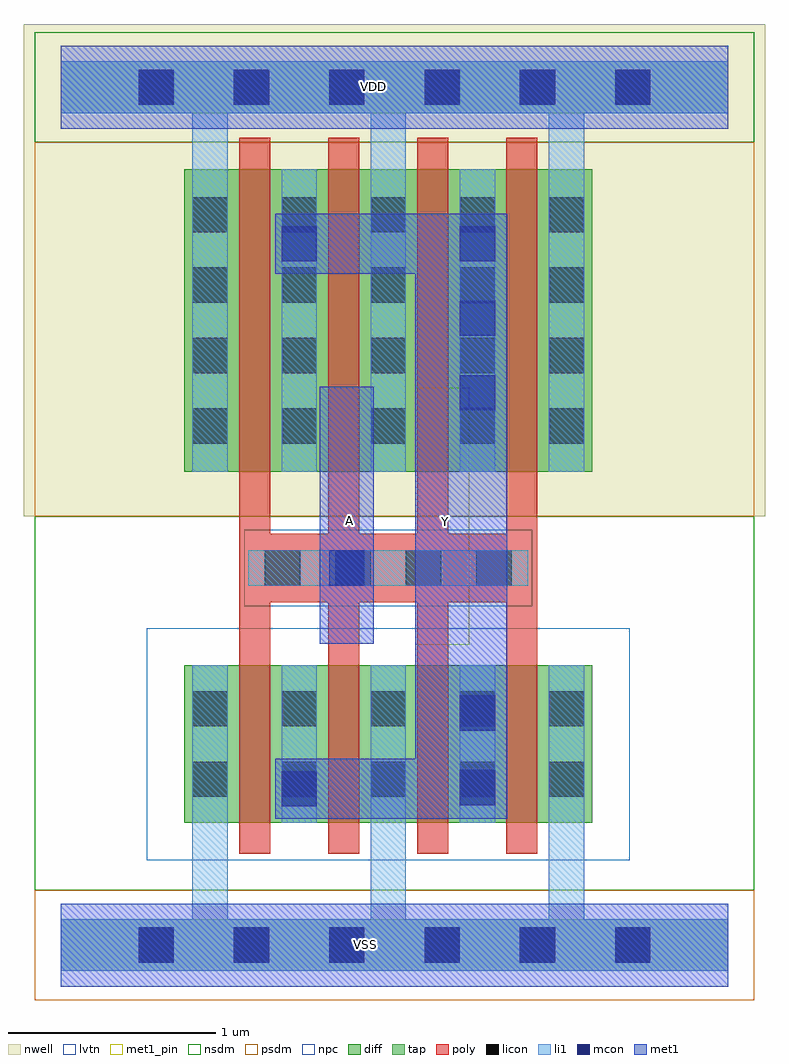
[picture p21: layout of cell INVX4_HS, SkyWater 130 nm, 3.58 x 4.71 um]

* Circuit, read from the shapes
.subckt INVX4_HS A VDD VSS Y
XM1 Y A VSS VSS sky130_fd_pr__nfet_01v8_lvt w=0.76 l=0.15 m=4
XM2 Y A VDD VDD sky130_fd_pr__pfet_01v8 w=1.46 l=0.15 m=4
.ends

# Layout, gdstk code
import gdstk
lib = gdstk.Library(unit=1e-6, precision=1e-09)
def R(c, l, rs):  # rectangles x0, y0, x1, y1
    for r in rs: c.add(gdstk.rectangle(r[:2], r[2:], *l))
def A(c, l, x, y, w, h, nx, ny, dx, dy):  # array of equal rectangles
    R(c, l, [(x+i*dx, y+j*dy, x+i*dx+w, y+j*dy+h) for i in range(nx) for j in range(ny)])
def P(c, l, *ps):  # polygons
    for p in ps: c.add(gdstk.Polygon(p, *l))
nwell = (64, 20)
diff = (65, 20)
tap = (65, 44)
poly = (66, 20)
licon = (66, 44)
li1 = (67, 20)
mcon = (67, 44)
met1_pin = (68, 16)
met1 = (68, 20)
nsdm = (93, 44)
psdm = (94, 20)
npc = (95, 20)
lvtn = (125, 44)

l1m1_c_cdns_752016586811 = lib.new_cell('L1M1_C_CDNS_752016586811')
R(l1m1_c_cdns_752016586811, li1, [(-0.165,-0.085,0.165,0.085)])
R(l1m1_c_cdns_752016586811, mcon, [(-0.085,-0.085,0.085,0.085)])
R(l1m1_c_cdns_752016586811, met1, [(-0.115,-0.145,0.115,0.145)])

l1m1_c_cdns_752016586817 = lib.new_cell('L1M1_C_CDNS_752016586817')
R(l1m1_c_cdns_752016586817, li1, [(-0.085,-0.525,0.085,0.525)])
A(l1m1_c_cdns_752016586817, mcon, -0.085, -0.445, 0.17, 0.17, 1, 3, 0, 0.36)
R(l1m1_c_cdns_752016586817, met1, [(-0.115,-0.505,0.115,0.505)])

pyl1con_c_cdns_752016586 = lib.new_cell('PYL1CON_C_CDNS_752016586813')
R(pyl1con_c_cdns_752016586, poly, [(-0.135,-0.165,0.135,0.165)])
R(pyl1con_c_cdns_752016586, licon, [(-0.085,-0.085,0.085,0.085)])
R(pyl1con_c_cdns_752016586, npc, [(-0.185,-0.185,0.185,0.185)])

l1m1_c_cdns_752016586812 = lib.new_cell('L1M1_C_CDNS_752016586812')
R(l1m1_c_cdns_752016586812, li1, [(-0.085,-0.165,0.085,0.165)])
R(l1m1_c_cdns_752016586812, mcon, [(-0.085,-0.085,0.085,0.085)])
R(l1m1_c_cdns_752016586812, met1, [(-0.115,-0.145,0.115,0.145)])

l1m1_c_cdns_752016586816 = lib.new_cell('L1M1_C_CDNS_752016586816')
R(l1m1_c_cdns_752016586816, li1, [(-0.085,-0.345,0.085,0.345)])
R(l1m1_c_cdns_752016586816, mcon, [(-0.085,-0.265,0.085,-0.095), (-0.085,0.095,0.085,0.265)])
R(l1m1_c_cdns_752016586816, met1, [(-0.115,-0.325,0.115,0.325)])

invx4_hs = lib.new_cell('INVX4_HS')
R(invx4_hs, nwell, [(-0.18,2.07,3.4,4.445)])
R(invx4_hs, diff, [(0.595,0.59,2.565,1.35), (0.595,2.285,2.565,3.745)])
P(invx4_hs, poly, [(2.3,3.895),(2.15,3.895),(2.15,1.985),(1.87,1.985),(1.87,3.895),(1.72,3.895),(1.72,1.985),(1.44,1.985),(1.44,3.895),(1.29,3.895),(1.29,1.985),(1.01,1.985),(1.01,3.895),(0.86,3.895),(0.86,0.44),(1.01,0.44),(1.01,1.655),(1.29,1.655),(1.29,0.44),(1.44,0.44),(1.44,1.655),(1.72,1.655),(1.72,0.44),(1.87,0.44),(1.87,1.655),(2.15,1.655),(2.15,0.44),(2.3,0.44)])
A(invx4_hs, licon, 0.375, -0.085, 0.17, 0.17, 6, 2, 0.46, 4.14)
A(invx4_hs, licon, 0.635, 0.715, 0.17, 0.17, 5, 2, 0.43, 0.34)
A(invx4_hs, licon, 0.635, 2.42, 0.17, 0.17, 5, 4, 0.43, 0.34)
R(invx4_hs, li1, [(1.065,0.59,1.235,1.35), (1.925,0.59,2.095,1.35), (1.065,2.285,1.235,3.745), (1.925,2.285,2.095,3.745)])
P(invx4_hs, li1, [(3.22,4.265),(0,4.265),(0,4.015),(0.635,4.015),(0.635,2.285),(0.805,2.285),(0.805,4.015),(1.495,4.015),(1.495,2.285),(1.665,2.285),(1.665,4.015),(2.355,4.015),(2.355,2.285),(2.525,2.285),(2.525,4.015),(3.22,4.015)],
  [(3.22,0.125),(2.525,0.125),(2.525,1.35),(2.355,1.35),(2.355,0.125),(1.665,0.125),(1.665,1.35),(1.495,1.35),(1.495,0.125),(0.805,0.125),(0.805,1.35),(0.635,1.35),(0.635,0.125),(0,0.125),(0,-0.125),(3.22,-0.125)])
A(invx4_hs, mcon, 0.375, -0.085, 0.17, 0.17, 6, 2, 0.46, 4.14)
R(invx4_hs, met1_pin, [(1.71,1.45,1.97,2.69), (1.25,1.455,1.51,2.695)])
P(invx4_hs, met1, [(2.155,3.53),(1.15,3.53),(1.15,3.24),(1.71,3.24),(1.71,0.9),(1.15,0.9),(1.15,0.61),(2.155,0.61)])
R(invx4_hs, nsdm, [(-0.125,0.265,3.345,2.07), (-0.125,3.875,3.345,4.405)])
R(invx4_hs, psdm, [(-0.125,-0.265,3.345,0.265), (-0.125,2.07,3.345,3.875)])
R(invx4_hs, npc, [(0.885,1.635,2.275,2.005)])
R(invx4_hs, lvtn, [(0.415,0.41,2.745,1.53)])
invx4_hs.add(gdstk.FlexPath([(0.905,1.82),(2.255,1.82)], 0.17, ends="flush", simple_path=True, layer=67, datatype=20))  # li1
invx4_hs.add(gdstk.FlexPath([(0,4.14),(3.22,4.14)], 0.4, ends="flush", simple_path=True, layer=68, datatype=20))  # met1
invx4_hs.add(gdstk.FlexPath([(0,0),(3.22,0)], 0.4, ends="flush", simple_path=True, layer=68, datatype=20))  # met1
invx4_hs.add(gdstk.FlexPath([(1.38,1.455),(1.38,2.695)], 0.26, ends="flush", simple_path=True, layer=68, datatype=20))  # met1
invx4_hs.add(gdstk.FlexPath([(0,4.14),(3.22,4.14)], 0.4, ends="flush", simple_path=True, layer=68, datatype=16))  # met1_pin
invx4_hs.add(gdstk.FlexPath([(0,0),(3.22,0)], 0.4, ends="flush", simple_path=True, layer=68, datatype=16))  # met1_pin
invx4_hs.add(gdstk.FlexPath([(0,4.14),(3.22,4.14)], 0.25, ends="flush", simple_path=True, layer=65, datatype=44))  # tap
invx4_hs.add(gdstk.FlexPath([(0,0),(3.22,0)], 0.25, ends="flush", simple_path=True, layer=65, datatype=44))  # tap
invx4_hs.add(gdstk.Reference(l1m1_c_cdns_752016586811, (1.38,1.82), x_reflection=True))
invx4_hs.add(gdstk.Reference(l1m1_c_cdns_752016586817, (2.01,3.025)))
invx4_hs.add(gdstk.Reference(pyl1con_c_cdns_752016586, (2.09,1.82)))
invx4_hs.add(gdstk.Reference(pyl1con_c_cdns_752016586, (1.75,1.82)))
invx4_hs.add(gdstk.Reference(pyl1con_c_cdns_752016586, (1.41,1.82)))
invx4_hs.add(gdstk.Reference(pyl1con_c_cdns_752016586, (1.07,1.82)))
invx4_hs.add(gdstk.Reference(l1m1_c_cdns_752016586812, (1.15,3.385)))
invx4_hs.add(gdstk.Reference(l1m1_c_cdns_752016586812, (1.15,0.755)))
invx4_hs.add(gdstk.Reference(l1m1_c_cdns_752016586816, (2.01,0.94)))
invx4_hs.add(gdstk.Label('VDD', (1.51,4.145), layer=68, texttype=5))
invx4_hs.add(gdstk.Label('A', (1.395,2.05), layer=68, texttype=5))
invx4_hs.add(gdstk.Label('Y', (1.855,2.045), layer=68, texttype=5))
invx4_hs.add(gdstk.Label('VSS', (1.47,0.005), layer=68, texttype=5))

lib.write_gds('INVX4_HS.gds')
